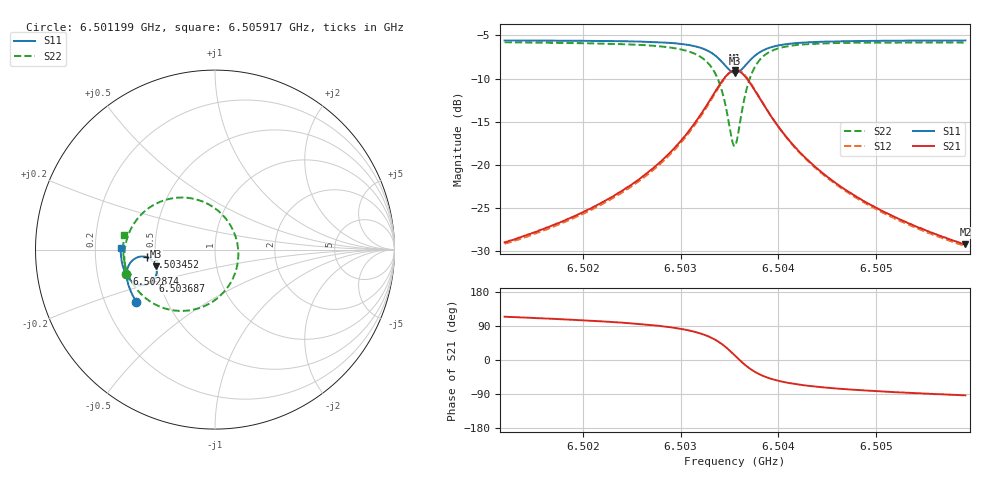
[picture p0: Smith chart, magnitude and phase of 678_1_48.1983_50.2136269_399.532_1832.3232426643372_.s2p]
#  HZ  S  RI  R  50.00
! Rohde & Schwarz Vector Network Analyzer
! Rohde-Schwarz,ZNB20-2Port,1311601062101988,3.16
! Created: UTC 3/20/2024, 12:06:31 PM
! freq[Hz]  re:S11  im:S11  re:S21  im:S21  re:S12  im:S12  re:S22  im:S22
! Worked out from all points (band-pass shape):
!   401 points, 6.501199 GHz to 6.505917 GHz, reference 50 ohm
!   highest |S21| = -9.04 dB at 6.503558 GHz (marker M1); lowest = -29.2 dB at 6.505917 GHz (marker M2)
!   |S21| within 3 dB of the highest: 6.503325 GHz to 6.503797 GHz (471.8 kHz wide, 0.00725 % of centre)
!   lowest |S11| = -9.4 dB at 6.503558 GHz (marker M3), VSWR 2.03, Z = 24.9 - j5.27 ohm
!   |S11| at or under -10 dB: nowhere
!   |S22| runs from -17.8 to -5.8 dB; largest |S21 - S12| = 0.014
!   S11 on the Smith chart (normalised r, x): 6.501199 GHz: 0.34, -0.27; 6.502874 GHz: 0.33, -0.12; 6.503452 GHz: 0.45, -0.04; 6.503687 GHz: 0.46, -0.19; 6.505917 GHz: 0.31, +0.01
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6.5011988e9  -0.4384 -0.2902  -0.0147 0.0325  -0.0127 0.0326  -0.4959 -0.1333
6.5019891e9  -0.4703 -0.2299  -0.0135 0.0512  -0.0108 0.0507  -0.5053 -0.0455
6.5024019e9  -0.4839 -0.1919  -0.0106 0.0701  -0.00711 0.069  -0.5005 0.0161
6.5027793e9  -0.4915 -0.1485  -0.000218 0.1026  0.00397 0.0999  -0.4774 0.0962
6.5028736e9  -0.4917 -0.135  0.00574 0.115  0.01 0.1117  -0.4644 0.1227
6.5030741e9  -0.4858 -0.1006  0.0304 0.1514  0.0348 0.1465  -0.4132 0.1932
6.5032157e9  -0.4695 -0.0704  0.0714 0.1864  0.0749 0.1796  -0.3339 0.2529
6.5033572e9  -0.4274 -0.0418  0.1606 0.2137  0.1618 0.2062  -0.1724 0.2898
6.5034515e9  -0.3776 -0.0427  0.2575 0.1902  0.2584 0.1844  -0.00524 0.2337
6.5035223e9  -0.3395 -0.0704  0.3267 0.1212  0.3294 0.1155  0.105 0.0981
6.5035577e9  -0.3277 -0.0933  0.346 0.0709  0.3499 0.0639  0.1289 0.00308
6.5035813e9  -0.3243 -0.1103  0.3503 0.035  0.3546 0.0265  0.1279 -0.0634
6.5036167e9  -0.3261 -0.1358  0.3436 -0.0178  0.3473 -0.0284  0.1012 -0.1574
6.5036874e9  -0.3487 -0.1754  0.2956 -0.0989  0.2954 -0.1123  -0.0123 -0.2897
6.5037346e9  -0.3702 -0.1901  0.2538 -0.1297  0.2504 -0.1429  -0.1005 -0.3298
6.5037936e9  -0.3963 -0.1975  0.2042 -0.1475  0.1979 -0.159  -0.1982 -0.3414
6.5039469e9  -0.4458 -0.1884  0.1157 -0.1436  0.1073 -0.1497  -0.358 -0.2913
6.504112e9  -0.4746 -0.1669  0.0679 -0.1213  0.0603 -0.1241  -0.4353 -0.2217
6.5043479e9  -0.496 -0.1369  0.0359 -0.0947  0.0301 -0.0954  -0.4812 -0.1458
6.5047017e9  -0.5117 -0.0982  0.0157 -0.0694  0.0118 -0.069  -0.5045 -0.0688
6.5051381e9  -0.5207 -0.0568  0.0054 -0.0516  0.00275 -0.0506  -0.5112 -0.00271
6.5059165e9  -0.5259 0.0101  -0.00192 -0.0346  -0.00362 -0.0337  -0.5044 0.0836
